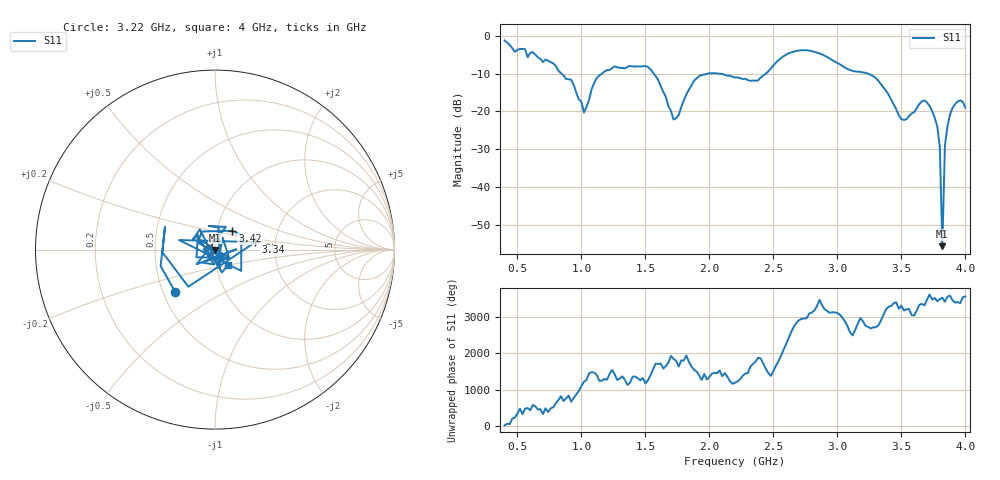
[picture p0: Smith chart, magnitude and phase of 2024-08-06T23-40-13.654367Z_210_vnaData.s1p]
!Created with skrf (http://scikit-rf.org).
# Hz S RI R 50.0
!freq ReS11 ImS11
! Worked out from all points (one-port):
!   181 points, 400 MHz to 4 GHz, reference 50 ohm
!   lowest |S11| = -55.7 dB at 3.82 GHz (marker M1), VSWR 1.00, Z = 50 - j0.164 ohm
!   |S11| at or under -10 dB: 1.566 GHz to 1.986 GHz (420.2 MHz wide, 23.7 % of centre); 2.075 GHz to 2.44 GHz (365 MHz wide, 16.2 % of centre); 3.24 GHz to end of sweep (the widest 3 of 4)
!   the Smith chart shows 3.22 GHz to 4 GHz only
!   S11 on the Smith chart (normalised r, x): 3.22 GHz: 0.58, -0.31; 3.34 GHz: 1.57, +0.14; 3.42 GHz: 1.19, +0.25; 4 GHz: 1.13, -0.20
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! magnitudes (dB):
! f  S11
! 400 MHz  -1.2
! 860 MHz  -10.5
! 920 MHz  -11.6
! 1.02 GHz  -20.3
! 1.12 GHz  -11.1
! 1.3 GHz  -8.4
! 1.52 GHz  -8.2
! 1.6 GHz  -11.7
! 1.72 GHz  -22.1
! 1.76 GHz  -21.0
! 1.92 GHz  -10.6
! 2.2 GHz  -11.0
! 2.38 GHz  -11.8
! 2.66 GHz  -4.1
! 3.1 GHz  -9.1
! 3.22 GHz  -9.8
! 3.34 GHz  -12.8
! 3.42 GHz  -16.9
! 3.5 GHz  -22.0
! 3.56 GHz  -21.2
! 3.68 GHz  -17.1
! 3.78 GHz  -23.9
! 3.8 GHz  -29.4
! 3.82 GHz  -55.7
! 3.84 GHz  -29.1
! 3.86 GHz  -23.8
! 3.92 GHz  -18.0
! 4 GHz  -19.0
